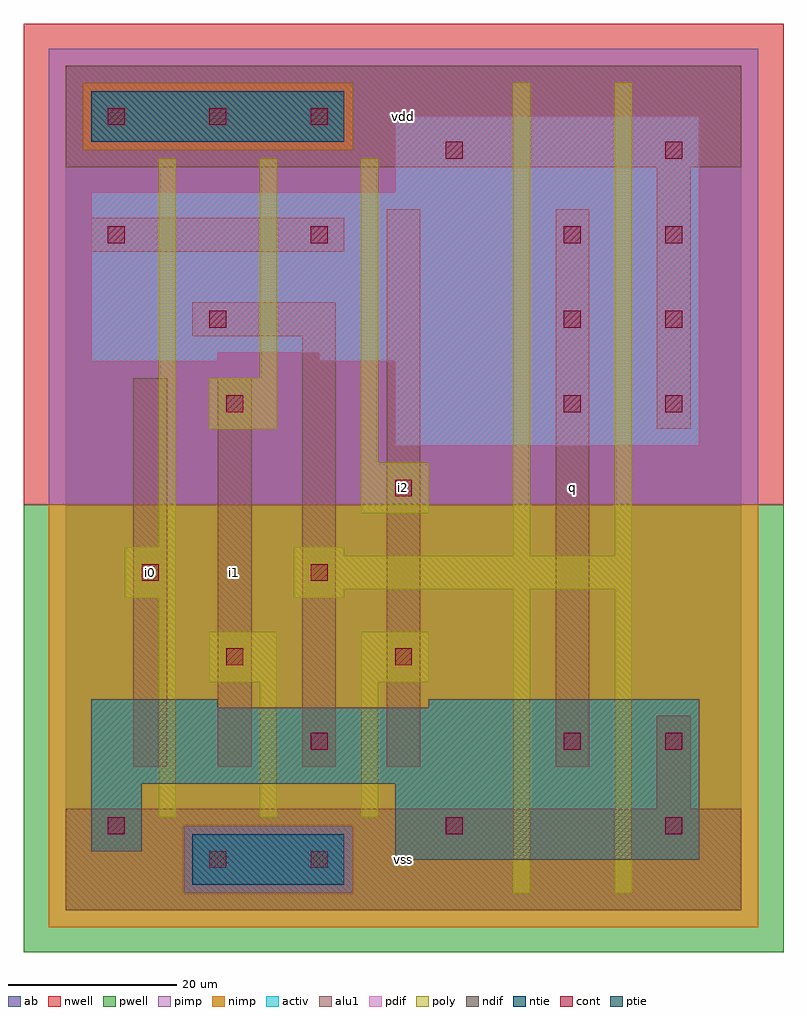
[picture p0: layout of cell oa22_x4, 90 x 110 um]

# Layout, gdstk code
import gdstk
lib = gdstk.Library(unit=1e-6, precision=1e-09)
def R(c, l, rs):  # rectangles x0, y0, x1, y1
    for r in rs: c.add(gdstk.rectangle(r[:2], r[2:], *l))
def A(c, l, x, y, w, h, nx, ny, dx, dy):  # array of equal rectangles
    R(c, l, [(x+i*dx, y+j*dy, x+i*dx+w, y+j*dy+h) for i in range(nx) for j in range(ny)])
ndif = (3, 0)
pdif = (4, 0)
ntie = (5, 0)
ptie = (6, 0)
cont = (25, 0)
pwell = (41, 0)
nwell = (42, 0)
activ = (43, 0)
pimp = (44, 0)
nimp = (45, 0)
poly = (46, 0)
alu1 = (49, 0)
ab = (63, 0)

oa22_x4 = lib.new_cell('oa22_x4')
R(oa22_x4, ndif, [(39,6,75,15), (3,7,9,15), (3,15,75,24), (3,24,18,25), (43,24,75,25)])
R(oa22_x4, pdif, [(39,55,75,65), (3,65,18,66), (30,65,75,66), (3,66,75,85), (39,85,75,94)])
R(oa22_x4, ntie, [(3,91,33,97)])
R(oa22_x4, ptie, [(15,3,33,9)])
A(oa22_x4, cont, 59, 59, 2, 2, 1, 3, 0, 10)
A(oa22_x4, cont, 71, 59, 2, 2, 1, 4, 0, 10)
A(oa22_x4, cont, 5, 93, 2, 2, 3, 1, 12, 0)
R(oa22_x4, cont, [(17,5,19,7), (29,5,31,7), (5,9,7,11), (45,9,47,11), (71,9,73,11), (29,19,31,21), (59,19,61,21), (71,19,73,21), (19,29,21,31), (39,29,41,31), (9,39,11,41), (29,39,31,41), (39,49,41,51), (19,59,21,61), (17,69,19,71), (5,79,7,81), (29,79,31,81), (45,89,47,91)])
R(oa22_x4, pwell, [(-5,-5,85,48)])
R(oa22_x4, nwell, [(-5,48,85,105)])
R(oa22_x4, activ, [(15,3,33,9), (39,6,75,15), (3,7,9,15), (3,15,75,24), (3,24,18,25), (43,24,75,25), (39,55,75,65), (3,65,18,66), (30,65,75,66), (3,66,75,85), (39,85,75,94), (3,91,33,97)])
R(oa22_x4, pimp, [(14,2,34,10), (-2,48,82,90), (-2,90,2,98), (34,90,82,98), (-2,98,82,102)])
R(oa22_x4, nimp, [(-2,-2,82,2), (-2,2,14,10), (34,2,82,10), (-2,10,82,48), (2,90,34,98)])
R(oa22_x4, poly, [(53,2,55,38), (65,2,67,38), (11,11,13,37), (23,11,25,27), (35,11,37,27), (17,27,25,33), (35,27,43,33), (7,37,13,43), (27,37,33,38), (27,38,67,42), (27,42,33,43), (53,42,55,98), (65,42,67,98), (11,43,13,89), (35,47,43,53), (35,53,37,89), (17,57,25,63), (23,63,25,89)])
R(oa22_x4, alu1, [(0,0,80,12), (70,12,74,23), (8,17,12,63), (18,17,22,63), (28,17,32,68), (38,17,42,83), (58,17,62,83), (70,57,74,88), (15,68,32,72), (3,78,33,82), (0,88,80,100)])
R(oa22_x4, ab, [(0,0,80,100)])
oa22_x4.add(gdstk.Label('i0', (10,40), layer=49, texttype=0))
oa22_x4.add(gdstk.Label('i1', (20,40), layer=49, texttype=0))
oa22_x4.add(gdstk.Label('vss', (40,6), layer=49, texttype=0))
oa22_x4.add(gdstk.Label('i2', (40,50), layer=49, texttype=0))
oa22_x4.add(gdstk.Label('vdd', (40,94), layer=49, texttype=0))
oa22_x4.add(gdstk.Label('q', (60,50), layer=49, texttype=0))

lib.write_gds('oa22_x4.gds')
